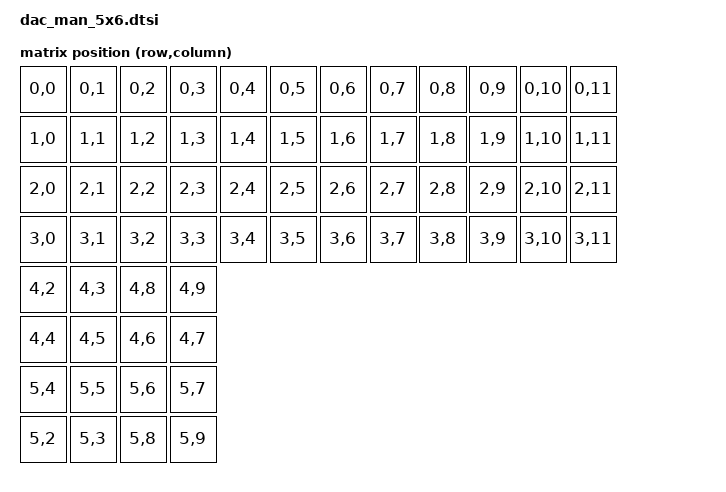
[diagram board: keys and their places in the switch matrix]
// Shared Dactyl Manuform 5x6 split definition.
//
// Matrix matches the stock QMK `handwired/dactyl_manuform/5x6`:
//   cols: D4,C6,D7,E6,B4,B5 -> &pro_micro 4,5,6,7,8,9
//   rows: F6,F7,B1,B3,B2,B6 -> &pro_micro 19,18,15,14,16,10
//   diode-direction: col2row
//
// Both halves use the same local 6x6 matrix. The right half applies a
// col-offset of 6 so its local columns land in transform columns 6..11.

#include <dt-bindings/zmk/matrix_transform.h>

#include "dac_man_5x6-layouts.dtsi"

/ {
    chosen {
        zmk,physical-layout = &default_layout;
    };

    default_transform: default_transform {
        compatible = "zmk,matrix-transform";
        columns = <12>;
        rows = <6>;
        map = <
RC(0,0) RC(0,1) RC(0,2) RC(0,3) RC(0,4) RC(0,5)   RC(0,6) RC(0,7) RC(0,8) RC(0,9) RC(0,10) RC(0,11)
RC(1,0) RC(1,1) RC(1,2) RC(1,3) RC(1,4) RC(1,5)   RC(1,6) RC(1,7) RC(1,8) RC(1,9) RC(1,10) RC(1,11)
RC(2,0) RC(2,1) RC(2,2) RC(2,3) RC(2,4) RC(2,5)   RC(2,6) RC(2,7) RC(2,8) RC(2,9) RC(2,10) RC(2,11)
RC(3,0) RC(3,1) RC(3,2) RC(3,3) RC(3,4) RC(3,5)   RC(3,6) RC(3,7) RC(3,8) RC(3,9) RC(3,10) RC(3,11)
RC(4,2) RC(4,3)   RC(4,8) RC(4,9)
RC(4,4) RC(4,5)   RC(4,6) RC(4,7)
RC(5,4) RC(5,5)   RC(5,6) RC(5,7)
RC(5,2) RC(5,3)   RC(5,8) RC(5,9)
        >;
    };
};
